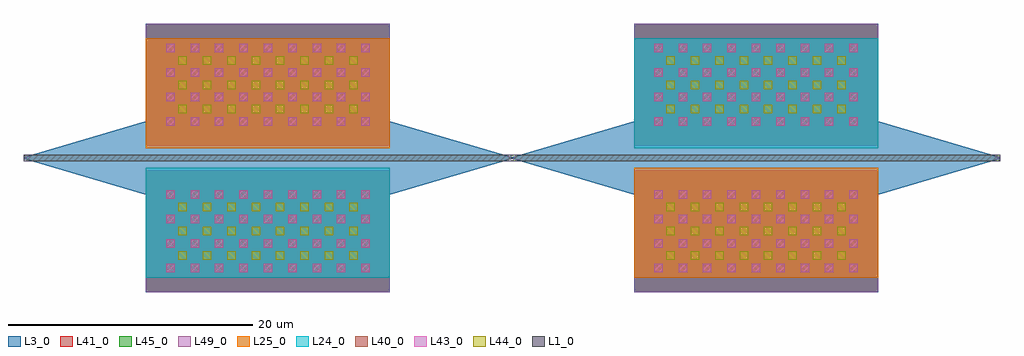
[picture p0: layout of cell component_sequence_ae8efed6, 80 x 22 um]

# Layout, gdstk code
from math import pi, radians
import gdstk
lib = gdstk.Library(unit=1e-6, precision=1e-09)
def R(c, l, rs):  # rectangles x0, y0, x1, y1
    for r in rs: c.add(gdstk.rectangle(r[:2], r[2:], *l))
def P(c, l, *ps):  # polygons
    for p in ps: c.add(gdstk.Polygon(p, *l))
L1_0 = (1, 0)
L3_0 = (3, 0)
L24_0 = (24, 0)
L25_0 = (25, 0)
L40_0 = (40, 0)
L41_0 = (41, 0)
L43_0 = (43, 0)
L44_0 = (44, 0)
L45_0 = (45, 0)
L49_0 = (49, 0)

straight_7b0384b3 = lib.new_cell('straight_7b0384b3')
R(straight_7b0384b3, L1_0, [(0,-0.25,20,0.25)])
R(straight_7b0384b3, L3_0, [(0,-10,20,10)])
R(straight_7b0384b3, L24_0, [(0,0.8,20,9.8)])
R(straight_7b0384b3, L25_0, [(0,-9.8,20,-0.8)])

taper_strip_to_ridge = lib.new_cell('taper_strip_to_ridge')
R(taper_strip_to_ridge, L1_0, [(0,-0.25,10,0.25)])
P(taper_strip_to_ridge, L3_0, [(0,0.075),(10,3),(10,-3),(0,-0.075)])

compass_b2148793 = lib.new_cell('compass_b2148793')
R(compass_b2148793, L3_0, [(-10,-5,10,5)])

compass_layerm1_size20p0 = lib.new_cell('compass_layerM1_size20p0__10p0')
R(compass_layerm1_size20p0, L41_0, [(-10,-5,10,5)])

compass_layerm2_size20p0 = lib.new_cell('compass_layerM2_size20p0__10p0')
R(compass_layerm2_size20p0, L45_0, [(-10,-5,10,5)])

compass_layermtop_size20 = lib.new_cell('compass_layerMTOP_size20p0__10p0')
R(compass_layermtop_size20, L49_0, [(-10,-5,10,5)])

via = lib.new_cell('via')
R(via, L40_0, [(-0.35,-0.35,0.35,0.35)])

via_enclosure2_layervia1 = lib.new_cell('via_enclosure2_layerVIA1')
R(via_enclosure2_layervia1, L44_0, [(-0.35,-0.35,0.35,0.35)])

via_layervia2 = lib.new_cell('via_layerVIA2')
R(via_layervia2, L43_0, [(-0.35,-0.35,0.35,0.35)])

via_stack_a5752607 = lib.new_cell('via_stack_a5752607')
via_stack_a5752607.add(gdstk.Reference(compass_b2148793, (0,0)))
via_stack_a5752607.add(gdstk.Reference(compass_layerm1_size20p0, (0,0)))
via_stack_a5752607.add(gdstk.Reference(compass_layerm2_size20p0, (0,0)))
via_stack_a5752607.add(gdstk.Reference(compass_layermtop_size20, (0,0)))
r = gdstk.Reference(via, (-8,-3)); r.repetition = gdstk.Repetition(9, 4, v1=(2,0), v2=(0,2)); via_stack_a5752607.add(r)
r = gdstk.Reference(via_enclosure2_layervia1, (-7,-2)); r.repetition = gdstk.Repetition(8, 3, v1=(2,0), v2=(0,2)); via_stack_a5752607.add(r)
r = gdstk.Reference(via_layervia2, (-8,-3)); r.repetition = gdstk.Repetition(9, 4, v1=(2,0), v2=(0,2)); via_stack_a5752607.add(r)

straight_pin_length40 = lib.new_cell('straight_pin_length40')
straight_pin_length40.add(gdstk.Reference(straight_7b0384b3, (0,0)))
straight_pin_length40.add(gdstk.Reference(taper_strip_to_ridge, (-10,0)))
straight_pin_length40.add(gdstk.Reference(taper_strip_to_ridge, (30,0), rotation=pi))
straight_pin_length40.add(gdstk.Reference(via_stack_a5752607, (10,6)))
straight_pin_length40.add(gdstk.Reference(via_stack_a5752607, (10,-6)))

component_sequence_ae8ef = lib.new_cell('component_sequence_ae8efed6')
component_sequence_ae8ef.add(gdstk.Reference(straight_pin_length40, (0,0), x_reflection=True))
component_sequence_ae8ef.add(gdstk.Reference(straight_pin_length40, (40,0)))

lib.write_gds('component_sequence_ae8efed6.gds')
